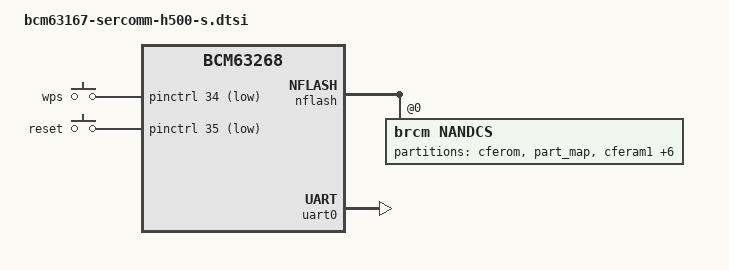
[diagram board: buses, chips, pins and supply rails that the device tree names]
// SPDX-License-Identifier: (GPL-2.0-or-later OR MIT)
/*
 * Device Tree file for Sercomm H500-s
 *
 * Copyright (C) 2020 Daniel González Cabanelas <dgcbueu@gmail.com>
 */

#include "bcm63268.dtsi"

#include <dt-bindings/input/input.h>

/ {
	aliases {
		led-boot = &led_power_green;
		led-failsafe = &led_power_red;
		led-running = &led_power_green;
		led-upgrade = &led_power_green;
	};

	chosen {
		bootargs = "rootfstype=squashfs,ubifs noinitrd console=ttyS0,115200";
		stdout-path = "serial0:115200n8";
	};

	keys {
		compatible = "gpio-keys-polled";
		#address-cells = <1>;
		#size-cells = <0>;
		poll-interval = <20>;

		wps {
			label = "wps";
			gpios = <&pinctrl 34 1>;
			linux,code = <KEY_WPS_BUTTON>;
			debounce-interval = <60>;
		};

		reset {
			label = "reset";
			gpios = <&pinctrl 35 1>;
			linux,code = <KEY_RESTART>;
			debounce-interval = <60>;
		};
	};
};

&leds {
	status = "okay";

	pinctrl-names = "default";
	pinctrl-0 = <&pinctrl_leds>;

	mobile_red {
		reg = <0>;
		label = "red:mobile";
	};

	mobile_green {
		reg = <1>;
		label = "green:mobile";
	};

	led_power_red: power_red {
		reg = <8>;
		label = "red:power";
	};

	wifi_green {
		reg = <9>;
		label = "green:wifi";
	};

	phone_red {
		reg = <12>;
		label = "red:phone";
	};

	wifi_red {
		reg = <13>;
		label = "red:wifi";
	};

	internet_red {
		reg = <14>;
		label = "red:internet";
	};

	internet_green {
		reg = <15>;
		label = "green:internet";
	};

	phone_green {
		reg = <16>;
		label = "green:phone";
	};

	led_power_green: power_green {
		reg = <17>;
		label = "green:power";
		default-state = "on";
	};

	mobile_blue {
		reg = <23>;
		label = "blue:mobile";
	};
};

&nflash {
	status = "okay";

	nandcs@0 {
		compatible = "brcm,nandcs";
		#size-cells = <1>;
		#address-cells = <1>;
		reg = <0>;
		nand-ecc-step-size = <512>;
		nand-ecc-strength = <4>;
		nand-on-flash-bbt;
		brcm,nand-oob-sector-size = <64>;

		partitions {
			compatible = "fixed-partitions";
			#address-cells = <1>;
			#size-cells = <1>;

			partition@0 {
				label = "cferom";
				reg = <0x0000000 0x0020000>;
				read-only;
			};

			partition@20000 {
				label = "part_map";
				reg = <0x0020000 0x00a0000>;
				read-only;
			};

			partition@c0000 {
				label = "cferam1";
				reg = <0x00c0000 0x0140000>;
				read-only;
			};

			partition@200000 {
				label = "cferam2";
				reg = <0x0200000 0x0140000>;
				read-only;
			};

			partition@6920000 {
				label = "bootflag1";
				reg = <0x6920000 0x0140000>;
			};

			partition@6a60000 {
				label = "bootflag2";
				reg = <0x6a60000 0x0140000>;
			};

			partition@520000 {
				compatible = "sercomm,wfi";
				label = "wfi";
				reg = <0x0520000 0x6400000>; /* 2 images, 97152 KiB */
			};

			partition@6ba0000 {
				label = "xml_cfg";
				reg = <0x6ba0000 0x0280000>;
				read-only;
			};

			partition@6e20000 {
				label = "app_data";
				reg = <0x6e20000 0x0280000>;
				read-only;
			};
		};
	};
};

&pinctrl {
	pinctrl_leds: leds {
		function = "led";
		pins = "gpio0",  "gpio1",  "gpio8",  "gpio9",
		       "gpio12", "gpio13", "gpio14", "gpio15",
		       "gpio16", "gpio17", "gpio23";
	};
};

&uart0 {
	status = "okay";
};
